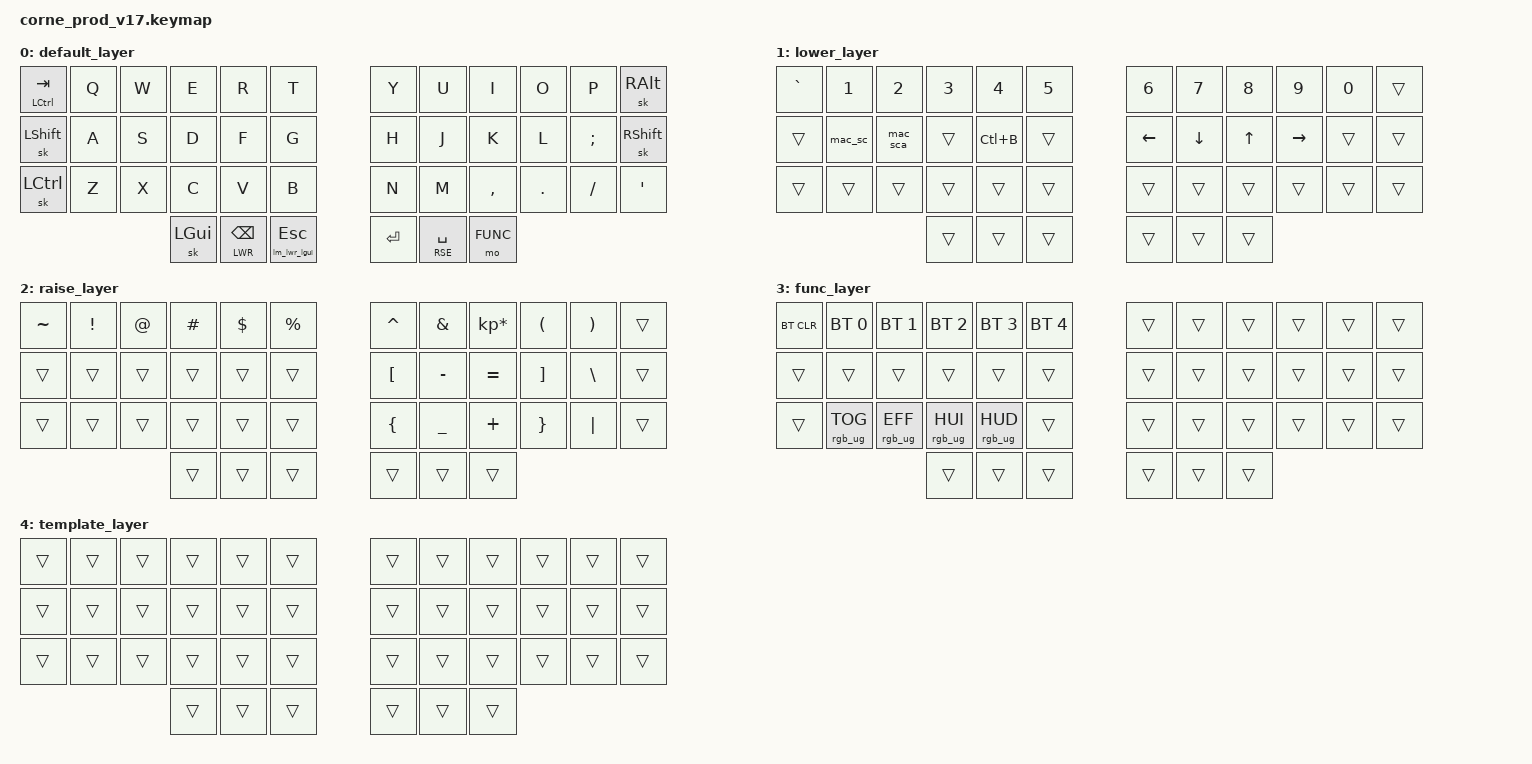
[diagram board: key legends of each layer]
/*
 * Copyright (c) 2020 The ZMK Contributors
 * SPDX-License-Identifier: MIT
 *
 * Corne Keymap v17
 * Reference: https://zmk.dev/docs/keymaps/behaviors/key-press
 */

#include <behaviors.dtsi>
#include <dt-bindings/zmk/keys.h>
#include <dt-bindings/zmk/bt.h>
#include <dt-bindings/zmk/rgb.h>

// ============================================================
// Hardware
// ============================================================

&led_strip {
    chain-length = <27>;
};

// ============================================================
// Layer indices
// ============================================================

#define DEFAULT 0
#define DFT     0
#define LWR     1
#define RSE     2
#define FUNC    3

// ============================================================
// Macro aliases
// ============================================================

#define mac_sc  macos_screenshot
#define mac_sca macos_screenshot_with_annotation
#define mac_in  macos_input

// ============================================================
// Macros
// ============================================================

/ {
    macros {

        // Switch macOS input method (Ctrl+Alt+Space)
        macos_input: macos_input {
            compatible = "zmk,behavior-macro";
            #binding-cells = <0>;
            bindings
                = <&macro_press   &kp LCTRL>
                , <&macro_press   &kp LALT>
                , <&macro_tap     &kp SPACE>
                , <&macro_release &kp LALT>
                , <&macro_release &kp LCTRL>
                ;
        };

        // Alt+Backspace (delete previous word)
        alt_backspace: alt_backspace {
            compatible = "zmk,behavior-macro";
            #binding-cells = <0>;
            bindings
                = <&macro_press   &kp LALT>
                , <&macro_tap     &kp BSPC>
                , <&macro_release &kp LALT>
                ;
        };

        // macOS screenshot to clipboard (Cmd+Ctrl+Shift+4)
        macos_screenshot: macos_screenshot {
            compatible = "zmk,behavior-macro";
            #binding-cells = <0>;
            bindings
                = <&macro_press   &kp LGUI>
                , <&macro_press   &kp LCTRL>
                , <&macro_press   &kp LSHFT>
                , <&macro_tap     &kp N4>
                , <&macro_release &kp LSHFT>
                , <&macro_release &kp LCTRL>
                , <&macro_release &kp LGUI>
                ;
        };

        // macOS screenshot with annotation (Cmd+Shift+4)
        macos_screenshot_with_annotation: macos_screenshot_with_annotation {
            compatible = "zmk,behavior-macro";
            #binding-cells = <0>;
            bindings
                = <&macro_press   &kp LGUI>
                , <&macro_press   &kp LSHFT>
                , <&macro_tap     &kp N4>
                , <&macro_release &kp LSHFT>
                , <&macro_release &kp LGUI>
                ;
        };

        // Ctrl+Alt+Arrow macros (workspace/window navigation)
        ctrl_alt_left: ctrl_alt_left {
            compatible = "zmk,behavior-macro";
            #binding-cells = <0>;
            bindings
                = <&macro_press   &kp LCTRL>
                , <&macro_press   &kp LALT>
                , <&macro_tap     &kp LEFT>
                , <&macro_release &kp LALT>
                , <&macro_release &kp LCTRL>
                ;
        };

        ctrl_alt_right: ctrl_alt_right {
            compatible = "zmk,behavior-macro";
            #binding-cells = <0>;
            bindings
                = <&macro_press   &kp LCTRL>
                , <&macro_press   &kp LALT>
                , <&macro_tap     &kp RIGHT>
                , <&macro_release &kp LALT>
                , <&macro_release &kp LCTRL>
                ;
        };

        ctrl_alt_up: ctrl_alt_up {
            compatible = "zmk,behavior-macro";
            #binding-cells = <0>;
            bindings
                = <&macro_press   &kp LCTRL>
                , <&macro_press   &kp LALT>
                , <&macro_tap     &kp UP>
                , <&macro_release &kp LALT>
                , <&macro_release &kp LCTRL>
                ;
        };

        ctrl_alt_down: ctrl_alt_down {
            compatible = "zmk,behavior-macro";
            #binding-cells = <0>;
            bindings
                = <&macro_press   &kp LCTRL>
                , <&macro_press   &kp LALT>
                , <&macro_tap     &kp DOWN>
                , <&macro_release &kp LALT>
                , <&macro_release &kp LCTRL>
                ;
        };

        ctrl_alt_enter: ctrl_alt_enter {
            compatible = "zmk,behavior-macro";
            #binding-cells = <0>;
            bindings
                = <&macro_press   &kp LCTRL>
                , <&macro_press   &kp LALT>
                , <&macro_tap     &kp RET>
                , <&macro_release &kp LALT>
                , <&macro_release &kp LCTRL>
                ;
        };

        // Cmd+` (cycle windows of same app)
        cmd_grave: cmd_grave {
            compatible = "zmk,behavior-macro";
            #binding-cells = <0>;
            bindings
                = <&macro_press   &kp LGUI>
                , <&macro_tap     &kp GRAVE>
                , <&macro_release &kp LGUI>
                ;
        };

        // Cmd+1..5 (switch tabs/spaces)
        cmd_1: cmd_1 {
            compatible = "zmk,behavior-macro";
            #binding-cells = <0>;
            bindings
                = <&macro_press   &kp LGUI>
                , <&macro_tap     &kp N1>
                , <&macro_release &kp LGUI>
                ;
        };

        cmd_2: cmd_2 {
            compatible = "zmk,behavior-macro";
            #binding-cells = <0>;
            bindings
                = <&macro_press   &kp LGUI>
                , <&macro_tap     &kp N2>
                , <&macro_release &kp LGUI>
                ;
        };

        cmd_3: cmd_3 {
            compatible = "zmk,behavior-macro";
            #binding-cells = <0>;
            bindings
                = <&macro_press   &kp LGUI>
                , <&macro_tap     &kp N3>
                , <&macro_release &kp LGUI>
                ;
        };

        cmd_4: cmd_4 {
            compatible = "zmk,behavior-macro";
            #binding-cells = <0>;
            bindings
                = <&macro_press   &kp LGUI>
                , <&macro_tap     &kp N4>
                , <&macro_release &kp LGUI>
                ;
        };

        cmd_5: cmd_5 {
            compatible = "zmk,behavior-macro";
            #binding-cells = <0>;
            bindings
                = <&macro_press   &kp LGUI>
                , <&macro_tap     &kp N5>
                , <&macro_release &kp LGUI>
                ;
        };

        // Zero-param wrapper: hold LWR layer + LGUI simultaneously
        lm_lwr_lgui: lm_lwr_lgui {
            compatible = "zmk,behavior-macro";
            #binding-cells = <0>;
            wait-ms = <0>;
            tap-ms  = <0>;
            bindings
                = <&macro_press   &mo LWR>
                , <&macro_press   &kp LGUI>
                , <&macro_pause_for_release>
                , <&macro_release &kp LGUI>
                , <&macro_release &mo LWR>
                ;
        };

        /*
         * lm — hold a layer while a modifier is active (QMK LM() equivalent)
         *   param 1: layer index
         *   param 2: modifier key
         * Example: &lm LWR LGUI
         */
        lm: lm {
            compatible = "zmk,behavior-macro-two-param";
            wait-ms = <0>;
            tap-ms  = <0>;
            #binding-cells = <2>;
            bindings
                = <&macro_param_1to1>
                , <&macro_press   &mo MACRO_PLACEHOLDER>
                , <&macro_param_2to1>
                , <&macro_press   &kp MACRO_PLACEHOLDER>
                , <&macro_pause_for_release>
                , <&macro_param_2to1>
                , <&macro_release &kp MACRO_PLACEHOLDER>
                , <&macro_param_1to1>
                , <&macro_release &mo MACRO_PLACEHOLDER>
                ;
        };
    };
};

// ============================================================
// Tap-dance behaviors
// ============================================================

/ {
    behaviors {

        // 1 tap -> ;   |   2 taps -> one-shot Shift
        sc_oneshot_shift_td: sc_oneshot_shift_td {
            compatible = "zmk,behavior-tap-dance";
            label = "SC_OS_SHIFT_TD";
            #binding-cells = <0>;
            tapping-term-ms = <200>;
            bindings = <&kp SEMI>, <&sk LSHFT>;
        };

        // 1 tap -> ,   |   2 taps -> one-shot Ctrl
        comma_oneshot_ctrl_td: comma_oneshot_ctrl_td {
            compatible = "zmk,behavior-tap-dance";
            label = "COMMA_OS_CTRL_TD";
            #binding-cells = <0>;
            tapping-term-ms = <200>;
            bindings = <&kp COMMA>, <&sk LCTRL>;
        };

        // tap -> ESC   |   hold -> LWR layer + LGUI
        ht_lm_esc: ht_lm_esc {
            compatible = "zmk,behavior-hold-tap";
            label = "HT_LM_ESC";
            #binding-cells = <2>;
            tapping-term-ms = <200>;
            flavor = "tap-preferred";
            bindings = <&lm_lwr_lgui>, <&kp>;
        };

    };
};

// ============================================================
// Keymap
// ============================================================

/ {
    keymap {
        compatible = "zmk,keymap";

        // ----------------------------------------------------
        // Layer 0 — Default (QWERTY)
        //
        // ┌──────────┬───┬───┬───┬───┬───┐   ┌───┬───┬───┬───┬───┬──────────┐
        // │TAB/LCTRL │ Q │ W │ E │ R │ T │   │ Y │ U │ I │ O │ P │ SK_RALT  │
        // ├──────────┼───┼───┼───┼───┼───┤   ├───┼───┼───┼───┼───┼──────────┤
        // │ SK_SHFT  │ A │ S │ D │ F │ G │   │ H │ J │ K │ L │ ; │ SK_SHFT  │
        // ├──────────┼───┼───┼───┼───┼───┤   ├───┼───┼───┼───┼───┼──────────┤
        // │ SK_CTRL  │ Z │ X │ C │ V │ B │   │ N │ M │ , │ . │ / │    '     │
        // └──────────┴───┴───┴─┬─┴─┬─┴─┬┘   └┬──┴─┬─┴─┬─┴───┴───┴──────────┘
        //                      │SK │BSP│ESC   │ENT │SPC│ FUNC  │
        //                      │GUI│LWR│LWR   │    │RSE│       │
        //                      │   │   │+GUI  │    │   │       │
        //                      └───┴───┘       └────┴───┘
        // ----------------------------------------------------
        default_layer {
            bindings = <
   &mt LCTRL TAB   &kp Q  &kp W  &kp E  &kp R        &kp T          &kp Y    &kp U          &kp I      &kp O    &kp P     &sk RALT
   &sk LSHFT       &kp A  &kp S  &kp D  &kp F        &kp G          &kp H    &kp J          &kp K      &kp L    &kp SEMI  &sk RSHFT
   &sk LCTRL       &kp Z  &kp X  &kp C  &kp V        &kp B          &kp N    &kp M          &kp COMMA  &kp DOT  &kp FSLH  &kp SQT
                                  &sk LGUI  &lt LWR BSPC  &ht_lm_esc 0 ESC   &kp RET  &lt RSE SPACE  &mo FUNC
            >;
        };

        // ----------------------------------------------------
        // Layer 1 — Lower  (hold left BSPC thumb)
        //
        // ┌─────┬───┬───┬───┬───┬───┐   ┌───┬───┬───┬───┬───┬─────┐
        // │  `  │ 1 │ 2 │ 3 │ 4 │ 5 │   │ 6 │ 7 │ 8 │ 9 │ 0 │     │
        // ├─────┼───┼───┼───┼───┼───┤   ├───┼───┼───┼───┼───┼─────┤
        // │     │SC │SCA│   │C-b│   │   │ ← │ ↓ │ ↑ │ → │   │     │
        // ├─────┼───┼───┼───┼───┼───┤   ├───┼───┼───┼───┼───┼─────┤
        // │     │   │   │   │   │   │   │   │   │   │   │   │     │
        // └─────┴───┴───┴───┴───┴───┘   └───┴───┴───┴───┴───┴─────┘
        // SC  = macOS screenshot to clipboard (Cmd+Ctrl+Shift+4)
        // SCA = macOS screenshot with annotation (Cmd+Shift+4)
        // ----------------------------------------------------
        lower_layer {
            bindings = <
   &kp GRAVE  &kp N1   &kp N2    &kp N3  &kp N4  &kp N5    &kp N6    &kp N7    &kp N8  &kp N9     &kp N0  &trans
   &trans     &mac_sc  &mac_sca  &trans  &kp LC(B)  &trans    &kp LEFT  &kp DOWN  &kp UP  &kp RIGHT  &trans  &trans
   &trans     &trans   &trans    &trans  &trans  &trans    &trans    &trans    &trans  &trans     &trans  &trans
                                 &trans  &trans  &trans       &trans    &trans    &trans
            >;
        };

        // ----------------------------------------------------
        // Layer 2 — Raise  (hold right SPC thumb)
        //
        // ┌─────┬───┬───┬───┬───┬───┐   ┌───┬───┬───┬───┬───┬─────┐
        // │  ~  │ ! │ @ │ # │ $ │ % │   │ ^ │ & │ * │ ( │ ) │     │
        // ├─────┼───┼───┼───┼───┼───┤   ├───┼───┼───┼───┼───┼─────┤
        // │     │   │   │   │   │   │   │ [ │ - │ = │ ] │ \ │     │
        // ├─────┼───┼───┼───┼───┼───┤   ├───┼───┼───┼───┼───┼─────┤
        // │     │   │   │   │   │   │   │ { │ _ │ + │ } │ | │     │
        // └─────┴───┴───┴───┴───┴───┘   └───┴───┴───┴───┴───┴─────┘
        // ----------------------------------------------------
        raise_layer {
            bindings = <
   &kp TILDE  &kp EXCL  &kp AT  &kp HASH  &kp DLLR  &kp PRCNT    &kp CARET  &kp AMPS   &kp KP_MULTIPLY  &kp LPAR  &kp RPAR  &trans
   &trans     &trans    &trans  &trans    &trans    &trans       &kp LBKT   &kp MINUS  &kp EQUAL        &kp RBKT  &kp BSLH  &trans
   &trans     &trans    &trans  &trans    &trans    &trans       &kp LBRC   &kp UNDER  &kp PLUS         &kp RBRC  &kp PIPE  &trans
                                &trans    &trans    &trans       &trans     &trans     &trans
            >;
        };

        // ----------------------------------------------------
        // Layer 3 — Func  (hold rightmost thumb)
        //
        // ┌─────┬────┬────┬────┬────┬────┐   ┌──────┬───┬───┬───┬───┬─────┐
        // │BTCLR│BT0 │BT1 │BT2 │BT3 │BT4 │   │      │   │   │   │   │     │
        // ├─────┼────┼────┼────┼────┼────┤   ├──────┼───┼───┼───┼───┼─────┤
        // │     │    │    │    │    │    │   │      │   │   │   │   │     │
        // ├─────┼────┼────┼────┼────┼────┤   ├──────┼───┼───┼───┼───┼─────┤
        // │     │TOG │EFF │HUI │HUD │    │   │      │   │   │   │   │     │
        // └─────┴────┴────┴────┴────┴────┘   └──────┴───┴───┴───┴───┴─────┘
        // BT0-4 = select Bluetooth profile 0-4
        // BTCLR = clear current BT pairing
        // TOG   = toggle RGB underglow on/off
        // EFF   = cycle RGB effect
        // HUI/D = hue increase / decrease
        // ----------------------------------------------------
        func_layer {
            bindings = <
   &bt BT_CLR  &bt BT_SEL 0     &bt BT_SEL 1     &bt BT_SEL 2     &bt BT_SEL 3     &bt BT_SEL 4    &trans      &trans  &trans  &trans  &trans  &trans
   &trans      &trans           &trans           &trans           &trans           &trans          &trans      &trans  &trans  &trans  &trans  &trans
   &trans      &rgb_ug RGB_TOG  &rgb_ug RGB_EFF  &rgb_ug RGB_HUI  &rgb_ug RGB_HUD  &trans          &trans      &trans  &trans  &trans  &trans  &trans
                                                 &trans           &trans           &trans          &trans      &trans  &trans
            >;
        };

        // ----------------------------------------------------
        // Layer 4 — Template  (unused / reserved)
        // ----------------------------------------------------
        template_layer {
            bindings = <
   &trans  &trans  &trans  &trans  &trans  &trans    &trans  &trans  &trans  &trans  &trans  &trans
   &trans  &trans  &trans  &trans  &trans  &trans    &trans  &trans  &trans  &trans  &trans  &trans
   &trans  &trans  &trans  &trans  &trans  &trans    &trans  &trans  &trans  &trans  &trans  &trans
                           &trans  &trans  &trans    &trans  &trans  &trans
            >;
        };
    };
};
